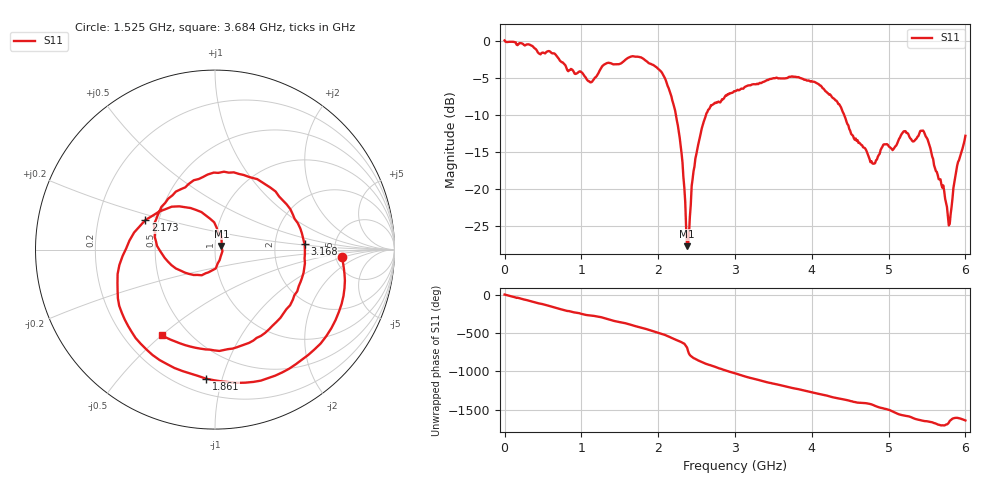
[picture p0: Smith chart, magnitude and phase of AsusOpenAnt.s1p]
# Hz S RI R 50
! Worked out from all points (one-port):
!   501 points, 1 MHz to 6 GHz, reference 50 ohm
!   lowest |S11| = -27.7 dB at 2.377 GHz (marker M1), VSWR 1.09, Z = 53.7 + j2.18 ohm
!   |S11| at or under -10 dB: 2.231 GHz to 2.623 GHz (391.7 MHz wide, 16.1 % of centre); 4.422 GHz to end of sweep
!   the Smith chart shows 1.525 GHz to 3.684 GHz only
!   S11 on the Smith chart (normalised r, x): 1.525 GHz: 5.70, -0.98; 1.861 GHz: 0.30, -0.89; 2.173 GHz: 0.42, +0.17; 3.168 GHz: 2.98, +0.24; 3.684 GHz: 0.36, -0.50
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1000000  1.005 -0.0079
3.36944e8  0.0535 -0.9349
5.88902e8  -0.7398 -0.4165
7.56874e8  -0.6808 0.2205
1.26079e9  0.2864 0.594
1.50075e9  0.699 0.0103
1.524746e9  0.7076 -0.043
1.716714e9  0.4498 -0.6391
1.86069e9  -0.0501 -0.7191
2.028662e9  -0.5187 -0.3534
2.172638e9  -0.388 0.1646
2.256624e9  -0.136 0.2316
2.376604e9  0.036 0.0203
2.508582e9  -0.1185 -0.1415
2.688552e9  -0.3395 0.143
3.0005e9  0.2615 0.3758
3.168472e9  0.4988 0.03
3.444426e9  0.2134 -0.5069
3.684386e9  -0.2962 -0.4774
3.756374e9  -0.4254 -0.382
3.972338e9  -0.5318 0.0653
4.212298e9  -0.221 0.383
4.50025e9  0.1374 0.2061
4.8002e9  0.1483 0.0062
5.256124e9  -0.1902 -0.1391
5.484086e9  -0.2021 0.1025
5.784036e9  -0.0393 0.0413
6e9  -0.2177 0.0709
